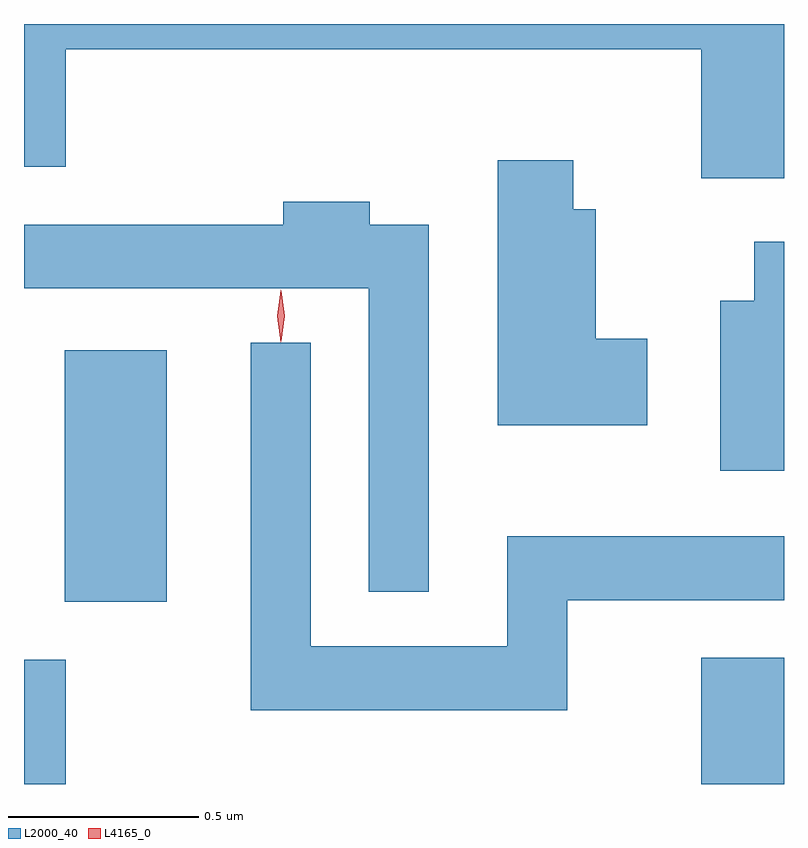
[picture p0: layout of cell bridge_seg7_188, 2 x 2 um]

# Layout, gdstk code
import gdstk
lib = gdstk.Library(unit=1e-6, precision=1e-09)
def R(c, l, rs):  # rectangles x0, y0, x1, y1
    for r in rs: c.add(gdstk.rectangle(r[:2], r[2:], *l))
def P(c, l, *ps):  # polygons
    for p in ps: c.add(gdstk.Polygon(p, *l))
L2000_40 = (2000, 40)
L4165_0 = (4165, 0)

bridge_seg7_188 = lib.new_cell('bridge_seg7_188')
R(bridge_seg7_188, L2000_40, [(1496.469,1701.282,1496.579,1701.609), (1498.251,1701.282,1498.469,1701.614), (1496.576,1701.761,1496.844,1702.424)])
P(bridge_seg7_188, L2000_40, [(1498.469,1703.282),(1496.469,1703.282),(1496.469,1702.906),(1496.579,1702.906),(1496.579,1703.216),(1498.251,1703.216),(1498.251,1702.876),(1498.469,1702.876)],
  [(1498.109,1702.454),(1497.974,1702.454),(1497.974,1702.794),(1497.914,1702.794),(1497.914,1702.924),(1497.716,1702.924),(1497.716,1702.226),(1498.109,1702.226)],
  [(1497.534,1702.754),(1497.379,1702.754),(1497.379,1702.814),(1497.151,1702.814),(1497.151,1702.754),(1496.469,1702.754),(1496.469,1702.586),(1497.376,1702.586),(1497.376,1701.788),(1497.534,1701.788)],
  [(1498.469,1702.709),(1498.391,1702.709),(1498.391,1702.554),(1498.301,1702.554),(1498.301,1702.106),(1498.469,1702.106)],
  [(1497.899,1701.766),(1498.469,1701.766),(1498.469,1701.934),(1497.741,1701.934),(1497.741,1701.644),(1497.224,1701.644),(1497.224,1702.443),(1497.066,1702.443),(1497.066,1701.476),(1497.899,1701.476)])
P(bridge_seg7_188, L4165_0, [(1497.144,1702.444),(1497.135,1702.513),(1497.144,1702.582),(1497.145,1702.583),(1497.145,1702.582),(1497.155,1702.513),(1497.145,1702.444),(1497.145,1702.444)],
  [(1497.144,1702.447),(1497.135,1702.514),(1497.144,1702.58),(1497.145,1702.58),(1497.146,1702.58),(1497.155,1702.514),(1497.146,1702.447),(1497.145,1702.447)])

lib.write_gds('bridge_seg7_188.gds')
